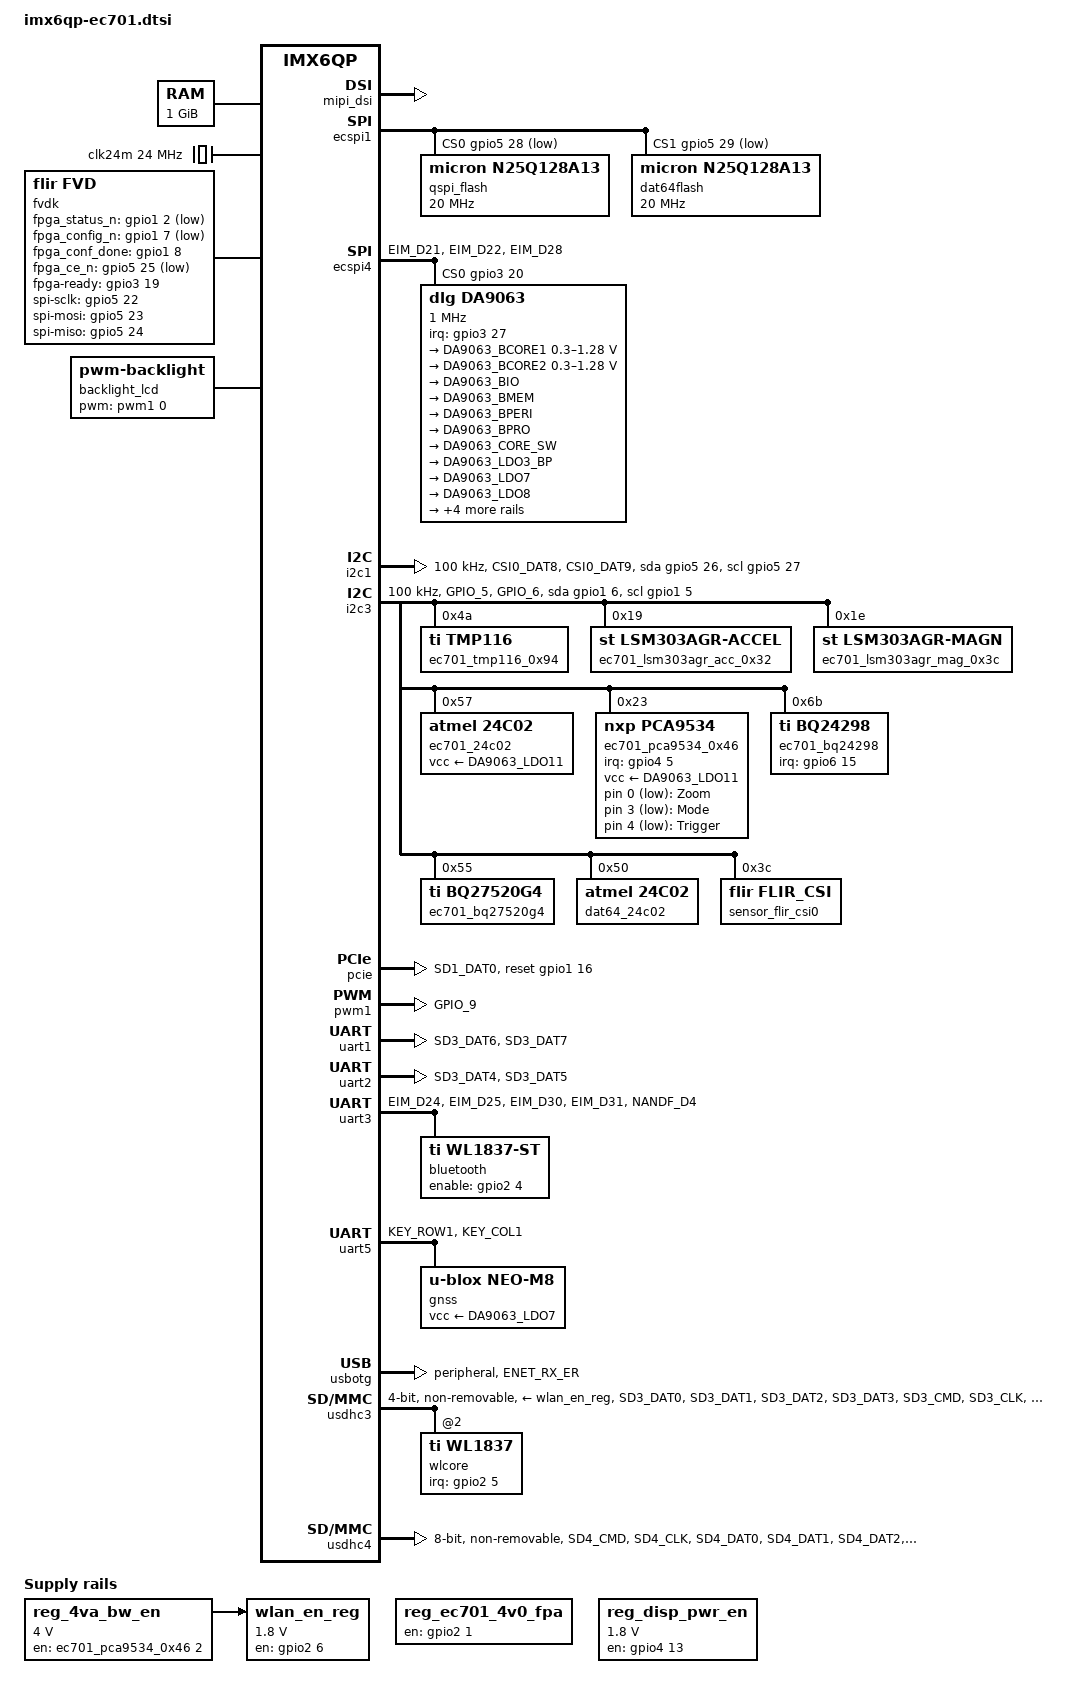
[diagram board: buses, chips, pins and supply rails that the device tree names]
/*
 * Copyright 2024 FLIR Systems.
 *
 * The code contained herein is licensed under the GNU General Public
 * License. You may obtain a copy of the GNU General Public License
 * Version 2 or later at the following locations:
 *
 * http://www.opensource.org/licenses/gpl-license.html
 * http://www.gnu.org/copyleft/gpl.html
 */

#include <dt-bindings/gpio/gpio.h>
#include <dt-bindings/input/input.h>
#include <dt-bindings/interrupt-controller/irq.h>
#include <dt-bindings/regulator/dlg,da9063-regulator.h>
#include "imx6q-pinfunc.h"

/ {
	aliases {
		mxcfb0 = &mxcfb1;
		mxcfb1 = &mxcfb2;

		mmc0 = &usdhc4;
		mmc1 = &usdhc1;
		mmc2 = &usdhc2;
		mmc3 = &usdhc3;
	};

	memory {
		reg = <0x10000000 0x40000000>;
	};

	clocks {
		clk24m: clk24m {
			compatible = "fixed-clock";
			#clock-cells = <0>;
			clock-frequency = <24000000>;
		};
	};

	// Board Info: Filled in by UBoot
	boards {
		mainboard {
			article = <0>;
			rev = <0>;
		};
	};

	luke-keyboard {
		compatible = "gpio-keys";

		autorepeat;
		/*KEY_F7*/
		keyboard_zoom {
			label = "Zoom";
			gpio-key;
			gpios = <&ec701_pca9534_0x46 0 GPIO_ACTIVE_LOW>;
			linux,code = <65>;
		};
		/*KEY_ENTER*/
		keyboard_mode {
			label = "Mode";
			gpio-key;
			gpios = <&ec701_pca9534_0x46 3 GPIO_ACTIVE_LOW>;
			linux,code = <28>;
		};
		/*F6*/
		button_trigger {
			label = "Trigger";
			gpio-key;
			gpios = <&ec701_pca9534_0x46 4 GPIO_ACTIVE_LOW>;
			linux,code = <64>;
		};
	};

	fad {
		compatible = "flir,fad";
		hasLaser = <0>;
		HasSoftwareControlledLaser = <0>;
		hasGPS = <1>;
		hasFocusModule = <0>;
	};

	fvdk {
		compatible = "flir,fvd", "flir,fvdk";
		fpa-supply = <&reg_ec701_4v0_fpa>;
		1v1_fpga-supply = <&DA9063_BPRO>;
		1v2_fpga-supply = <&DA9063_PERI_SW>;
		1v8_fpga-supply = <&DA9063_CORE_SW>;
		2v5_fpga-supply = <&DA9063_BMEM>;
		3v15_fpga-supply = <&DA9063_LDO8>;

		pinctrl-names = "default", "spi-default", "spi-idle";
		pinctrl-0 = <&pinctrl_fvd>;
		pinctrl-1 = <&pinctrl_ecspi1>;
		pinctrl-2 = <&pinctrl_ecspi1_idle>;

		/* _n low signals are interpreted by fvdk driver */
		fpga_status_n = <&gpio1 2 GPIO_ACTIVE_LOW>;
		fpga_config_n = <&gpio1 7 GPIO_ACTIVE_LOW>;
		fpga_conf_done = <&gpio1 8 GPIO_ACTIVE_HIGH>;
		fpga_ce_n = <&gpio5 25 GPIO_ACTIVE_LOW>;
		fpga-ready-gpio = <&gpio3 19 GPIO_ACTIVE_HIGH>;

		spi-sclk-gpio = <&gpio5 22 GPIO_ACTIVE_HIGH>;
		spi-mosi-gpio = <&gpio5 23 GPIO_ACTIVE_HIGH>;
		spi-miso-gpio = <&gpio5 24 GPIO_ACTIVE_HIGH>;
		spi-cs-gpio = <&gpio5 28 GPIO_ACTIVE_LOW>;

		// The fvdk driver needs to find the SPI device
		// via this phandle to prepare flash during FPGA programming
		spi_fpga_flash = <&qspi_flash>;
	};

	regulators {
		compatible = "simple-bus";

		reg_4va_bw_en: reg_4va_bw_en {
			compatible = "regulator-fixed";
			regulator-name = "4VA_BW";
			regulator-min-microvolt = <4000000>;
			regulator-max-microvolt = <4000000>;
			gpio = <&ec701_pca9534_0x46 2 GPIO_ACTIVE_HIGH>;
			regulator-boot-on;
			startup-delay-us = <10000>;
			enable-active-high;
		};

		wlan_en_reg: wlan_en_reg {
			compatible = "regulator-fixed";
			regulator-name = "wlan-en";
			regulator-min-microvolt = <1800000>;
			regulator-max-microvolt = <1800000>;
			gpio = <&gpio2 6 GPIO_ACTIVE_HIGH>;
			regulator-boot-on;
			startup-delay-us = <70000>;
			enable-active-high;
			vin-supply = <&reg_4va_bw_en>;
		};

		reg_ec701_4v0_fpa: 4v0_fpa {
			compatible = "regulator-fixed";
			regulator-name = "4V0_fpa";
			gpio = <&gpio2 1 0>; //FPA_PWR_EN
			enable-active-high;
		};

		/* DISP_PWR_EN */
		reg_disp_pwr_en: reg_disp_pwr_en {
			compatible = "regulator-fixed";
			regulator-name = "3V15_DISP";
			regulator-min-microvolt = <1800000>;
			regulator-max-microvolt = <1800000>;
			gpio = <&gpio4 13 GPIO_ACTIVE_HIGH>;
			regulator-boot-on;
			enable-active-high;
		};

	};

	mxcfb1: fb@0 {
		compatible = "fsl,mxc_sdc_fb";
		interface_pix_fmt = "RGB24";
		default_bpp = <32>;
		int_clk = <0>;
		late_init = <0>;
		disp_dev = "mipi_dsi";
		mode_str ="TRULY-VGA";
		backlight_lcd = <&backlight_lcd>;
		bootlogo = <0x0 0x0>;
		status = "okay";
	};

	mxcfb2: fb@1 {
		compatible = "fsl,mxc_sdc_fb";
		status = "disabled";
	};

	backlight_lcd: backlight_lcd {
		compatible = "pwm-backlight";
		pwms = <&pwm1 0 500000>; //500us=2KHz
		brightness-levels = <0 10 20 30 40 50 60 70 80 90 100>;
		default-brightness-level = <7>;
		options = <3>;	// Restore backlight after suspend
		status = "okay";
	};

	v4l2_cap_0 {
		compatible = "fsl,imx6q-v4l2-capture";
		ipu_id = <0>;
		csi_id = <0>;
		videoflow_method = <1>;
		mclk_source = <0>;
		status = "okay";
	};

	v4l2_out {
		compatible = "fsl,mxc_v4l2_output";
		status = "okay";
	};

	// UBoot Info: Filled in by UBoot
	u-boot {
		version = "Unknown";
		reset-cause = "Unknown";
	};

	lcd@0 {
		compatible = "fsl,lcd";
		// TODO: See LEIA for disabling DI pins in sleep mode
		ipu_id = <0>;
		disp_id = <0>;
		default_ifmt = "RGB24";
		pinctrl-names = "default";
		pinctrl-0 = <&pinctrl_disp_pwr_gpio>;
		display = <&lcdtiming>;
		status = "okay";
		bootlogo = <0x0 0x0>;
	};

	lcdtiming: lcdtiming {
		display-timings { 
			timing {
				clock-frequency = <25175000>;
				hactive = <640>;
				vactive = <480>;
				hfront-porch = <8>;
				hback-porch = <40>;
				hsync-len = <96>;
				vback-porch = <25>;
				vfront-porch = <2>;
				vsync-len = <2>;
				pixelclk-active = <0>;
			};
		};
	};
};

/* LCD */
&mipi_dsi {
	dev_id = <0>;
	disp_id = <1>;
	lcd_panel = "TRULY-VGA";
	disp-power-on-supply = <&reg_disp_pwr_en>;
	rotate-primary-180;
	status = "okay";
};

&fec {
	pinctrl-names = "default";
	pinctrl-0 = <&pinctrl_enet>;
	phy-mode = "rmii";
	status = "disabled";
};

&ecspi1 {
	// The fvdk driver sets this pinctrl when not
	// programming fpga, thus commented out here
	// pinctrl-names = "default";
	// pinctrl-0 = <&pinctrl_ecspi1>;
	fsl,spi-num-chipselects = <2>;
	cs-gpios = <&gpio5 28 GPIO_ACTIVE_LOW>, <&gpio5 29 GPIO_ACTIVE_LOW>;
	status = "okay";

	qspi_flash: mt25ql128aba@0 {
		compatible = "micron,n25q128a13", "jedec,spi-nor";
		spi-max-frequency = <20000000>;
		reg = <0>;
	};

	/* Detector flash */
	dat64flash: dat64flash@1 {
		compatible = "micron,n25q128a13", "micron,n25q256a", "jedec,spi-nor";
		spi-max-frequency = <20000000>;
		reg = <1>;
	};
};

&ecspi4 {
	pinctrl-names = "default";
	pinctrl-0 = <&pinctrl_ecspi4>;
	fsl,spi-num-chipselects = <1>;
	cs-gpios = <&gpio3 20 0>;
	status = "okay";

	da9063: da9063@0 {
		compatible = "dlg,da9063";
		reg = <0>;
		spi-max-frequency = <1000000>;
		interrupt-parent = <&gpio3>;
		interrupts = <27 2>;
		interrupt-controller;
		#interrupt-cells = <1>;
		pinctrl-names = "default";
		pinctrl-0 = <&pinctrl_da9063>;

		poweroff {
			compatible = "dlg,da9063-poweroff";
			/* Optional gpio-based shutdown used by EOCO*/
			pwroff-gpio = <&gpio2 30 GPIO_ACTIVE_HIGH>;
		};

		rtc {
			compatible = "dlg,da9063-rtc";
			interrupts = <1 2>;
			interrupts-names = "ALARM" , "TIMER";
			interrupt-parent = <&da9063>;
		};

		onkey {
			compatible = "dlg,da9063-onkey";
			interrupts = <0>;
			interrupts-names = "ONKEY";
			interrupt-parent = <&da9063>;
			dlg,key-power;
			gpio-key,wakeup;
			linux,code = <66>;
		};

		hwmon {
			compatible = "dlg,da9063-hwmon";
			interrupts = <3>;
			interrupts-names = "HWMON";
			interrupt-parent = <&da9063>;
			dlg,tjunc-offset = <(-5)>;
		};

		gpio_extender: gpio {
			compatible = "dlg,da9063-gpio";
			gpio-controller;
			#gpio-cells = <2>;
		};

		watchdog {
			compatible = "dlg,da9063-watchdog";
			timeout-sec = <30>;
		};

		charge_wake: charge_wake {
			compatible = "dlg,da9063-wake";
		};

		reset{
			compatible = "dlg,da9063-reset";
		};

		comp1v2 {
			compatible = "dlg,da9063-comp1v2"; /* Monitors battery voltage */
		};

		/*
		 * Regulator                Signal      Voltage     Enabled
		 * -------------------------------------------------------------
		 * DA9063_BCORE1:bcore1     VCCARM      1V38        Yes, seq 3
		 * DA9063_BCORE2:bcore2     VCCSOC      1V38        Yes, seq 3
		 * DA9063_BIO:bio           1V8D                    Yes, seq 5
		 * DA9063_BMEM:bmem         2V5D_FPGA               by uboot
		 * DA9063_BPERI:bperi       1V2D                    Yes, seq 4
		 * DA9063_BPRO:bpro         1V1D_FPGA               by uboot
		 * DA9063_CORE_SW:core_sw   1V8D_FPGA               by uboot
		 * DA9063_LDO2:ldo2         NC          1V2         No
		 * DA9063_LDO3_BP:ldo3      Test only   1V8         No
		 * DA9063_LDO4:ldo4         NC          3V15/1V8    Yes, seq 6, disabled in uboot
		 * DA9063_LDO6:ldo6         NC          2V5         No
		 * DA9063_LDO7:ldo7         3V15_GP                 No
		 * DA9063_LDO8:ldo8         3V15D_FPGA              by uboot
		 * DA9063_LDO9:ldo9         VCCSNVS     3V15        Yes, seq 1
		 * DA9063_LDO10:ldo10       NC          2V5D_FPGA   No
		 * DA9063_LDO11:ldo11       3V15D                   Yes, seq 6
		 * DA9063_PERI_SW:peri_sw   1V2D_FPGA               by uboot
		 */

		/* For DA9063 revision AD */
		regulators {
			compatible = "dlg,da9063-regulator";
			interrupts = <8>;
			interrupts-names = "LDO_LIM";
			interrupt-parent = <&da9063>;

			/* A note on the buck regulators:
			 * MODE_SYNC is able to deliver high current, while MODE_SLEEP enters a
			 * low current mode. MODE_AUTO automatically changes between the two.
			 * In suspend, MODE_SLEEP results in problems after suspend, it seems
			 * it continues to use MODE_SLEEP that cannot deliver enough current.
			 *
			 * Therefore, always use either MODE_SYNC or MODE_AUTO. MODE_AUTO
			 * might save some power, but we set MODE_SYNC here for all buck
			 * regulators for now.
			 */

			/* VCCARM */
			DA9063_BCORE1:bcore1  {
				regulator-name = "DA9063_BCORE1";
				regulator-boot-on;
				regulator-always-on;
				regulator-min-microvolt = <300000>;
				regulator-max-microvolt = <1280000>;

				regulator-initial-mode = <DA9063_BUCK_MODE_SYNC>;
				regulator-allowed-modes = <DA9063_BUCK_MODE_SYNC>;
			};

			/* VCCSOC */
			DA9063_BCORE2:bcore2  {
				regulator-name = "DA9063_BCORE2";
				regulator-boot-on;
				regulator-always-on;
				regulator-min-microvolt = <300000>;
				regulator-max-microvolt = <1280000>;

				regulator-initial-mode = <DA9063_BUCK_MODE_SYNC>;
				regulator-allowed-modes = <DA9063_BUCK_MODE_SYNC>;
			};

			/* 1V8D */
			DA9063_BIO:bio  {
				/* SLEEP mode (PFM) can be used for low currents up to 300mA.
				 * Expected load is about 30mA.
				 */
				regulator-initial-mode = <DA9063_BUCK_MODE_SLEEP>;
				regulator-name = "DA9063_BIO";
				regulator-boot-on;
				regulator-always-on;
				regulator-allowed-modes = <DA9063_BUCK_MODE_SLEEP>;
			};

			/* 2V5D_FPGA */
			DA9063_BMEM:bmem  {
				regulator-initial-mode = <DA9063_BUCK_MODE_SYNC>;
				regulator-name = "DA9063_BMEM";
				regulator-boot-on;
				regulator-allowed-modes = <DA9063_BUCK_MODE_SYNC>;
				/* Suspend handled by FVDK */
			};

			/* 1V2D */
			DA9063_BPERI:bperi  {
				/* SLEEP mode (PFM) can be used for low currents up to 300mA.
				 * Expected load is about 100mA.
				 */
				regulator-initial-mode = <DA9063_BUCK_MODE_SLEEP>;
				regulator-name = "DA9063_BPERI";
				regulator-boot-on;
				regulator-always-on;
				regulator-allowed-modes = <DA9063_BUCK_MODE_SLEEP>;
			};

			/* 1V1D_FPGA */
			DA9063_BPRO:bpro  {
				regulator-initial-mode = <DA9063_BUCK_MODE_SYNC>;
				regulator-name = "DA9063_BPRO";
				regulator-boot-on;
				regulator-allowed-modes = <DA9063_BUCK_MODE_SYNC>;
				/* Suspend handled by FVDK */
			};

			/* 1V8D_FPGA */
			DA9063_CORE_SW:core-sw  {
				regulator-name = "DA9063_CORE_SW";
				regulator-boot-on;
				/* Suspend handled by FVDK */
			};

			/* LDO3: 1V8 test point */
			DA9063_LDO3_BP:ldo3  {
				regulator-name = "DA9063_LDO3_BP";
				regulator-state-mem {
					regulator-off-in-suspend;
				};
			};

			/* 3V15_GP */
			DA9063_LDO7:ldo7  {
				regulator-name = "DA9063_LDO7";
			};

			/* 3V15D_FPGA */
			DA9063_LDO8:ldo8  {
				regulator-name = "DA9063_LDO8";
				regulator-boot-on;
			};

			/* VCCSNVS */
			DA9063_LDO9:ldo9  {
				regulator-name = "DA9063_LDO9";
				regulator-boot-on;
				regulator-always-on;
			};

			/* 3V15D */
			DA9063_LDO11:ldo11  {
				regulator-name = "DA9063_LDO11";
				regulator-boot-on;
				regulator-always-on;
			};

			/* 1V2D_FPGA */
			DA9063_PERI_SW:peri-sw  {
				regulator-name = "DA9063_PERI_SW";
				regulator-boot-on;
				/* Suspend handled by FVDK */
			};

			DA9063_32K_OUT:out_32k  {
				regulator-name = "DA9063_32K_OUT";
			};
		};
	};
};

&wdog1 {
	/* Disable internal watchdog in favor of da9063-wdt */
	status = "disable";
};

&i2c1 {
	clock-frequency = <100000>;
	pinctrl-names = "default", "gpio";
	pinctrl-0 = <&pinctrl_i2c1>;
	pinctrl-1 = <&pinctrl_i2c1_gpio>;
	scl-gpios = <&gpio5 27 (GPIO_ACTIVE_HIGH | GPIO_OPEN_DRAIN)>;
	sda-gpios = <&gpio5 26 GPIO_ACTIVE_HIGH>;
	status = "okay";
};

&i2c3 {
	clock-frequency = <100000>;
	pinctrl-names = "default", "gpio";
	pinctrl-0 = <&pinctrl_i2c3>;
	pinctrl-1 = <&pinctrl_i2c3_gpio>;
	scl-gpios = <&gpio1 5 (GPIO_ACTIVE_HIGH | GPIO_OPEN_DRAIN)>;
	sda-gpios = <&gpio1 6 GPIO_ACTIVE_HIGH>;
	status = "okay";

	/* Temperature sensor */
	ec701_tmp116_0x94: ec701_tmp116_0x94@4a {
		compatible = "ti,tmp116";
		reg = <0x4a>;
		//vdd-supply = <&DA9063_LDO11>;
		status = "okay";
	};

	/* Accelerometer: DRDY and INTS are not connected */
	ec701_lsm303agr_acc_0x32: ec701_lsm303agr_acc_0x32@19 {
		compatible = "st,lsm303agr-accel";
		reg = <0x19>;
		//vdd-supply = <&DA9063_LDO11>;
		status = "okay";
	};

	/* Magnetometer: DRDY and INTS are not connected */
	ec701_lsm303agr_mag_0x3c: ec701_lsm303agr_mag_0x3c@1e {
		compatible = "st,lsm303agr-magn";
		reg = <0x1e>;
		//vdd-supply = <&DA9063_LDO11>;
		status = "okay";
	};

	/* ID EEPROM */
	ec701_24c02: ec701_24c02_0xae@57 {
		compatible = "atmel,24c02";
		reg = <0x57>;
		pagesize = <16>;
		vcc-supply = <&DA9063_LDO11>;
	};

	/* Power ctrl I/O expander */
	ec701_pca9534_0x46: ec701_pca9534_0x46@23 {
		compatible = "nxp,pca9534";
		reg = <0x23>;
		gpio-controller;
		vcc-supply = <&DA9063_LDO11>;
		/* Int: I2C3_ALERT_n, GPIO4.5 */
		interrupt-parent = <&gpio4>;
		interrupts = <5 IRQ_TYPE_EDGE_FALLING>;
		interrupt-controller;
		interrupts-shared;
		#interrupt-cells = <2>;
		#gpio-cells = <2>;
		status = "okay";
	};

	/* Battery charger */
	ec701_bq24298: ec701_bq24298_0xd6@6b {
		compatible = "ti,bq24298";
		reg = <0x6b>;
		interrupt-parent = <&gpio6>;
		interrupts = <15 2>;
                //ti,usb-charger-detection = <&usbotg>;
		status = "okay";
	};

	/* Battery fuel gauge */
	ec701_bq27520g4: ec701_bq27520g4_0xaa@55 {
		compatible = "ti,bq27520g4";
		reg = <0x55>;
	};

	/* ID EEPROM on detector board */
	dat64_24c02: dat64_24c02_0xa0@50 {
		compatible = "atmel,24c02";
		reg = <0x50>;
		pagesize = <16>;
		status = "okay";
	};

	/* FPGA CSI0 */
	sensor_flir_csi0: csi0@3c {
		compatible = "flir,flir_csi";
		reg = <0x3c>;
		pinctrl-names = "default";
		pinctrl-0 = <&pinctrl_ipu1_csi0>;
		clocks = <&clks 201>;
		clock-names = "csi_mclk";
		ipu_id = <0>;
		csi_id = <0>;
		mclk = <24000000>;
		mclk_source = <0>;
		capturemode = <0>;
		format = "RGB4";
		status = "okay";
	};
};

&iomuxc {
	pinctrl_da9063: da9063grp {
		fsl,pins = <
			MX6QDL_PAD_EIM_D27__GPIO3_IO27 0x1b0b0
		>;
	};

	pinctrl_ecspi1: ecspi1grp {
		fsl,pins = <
			MX6QDL_PAD_CSI0_DAT4__ECSPI1_SCLK 0x100b1
			MX6QDL_PAD_CSI0_DAT5__ECSPI1_MOSI 0x100b1
			MX6QDL_PAD_CSI0_DAT6__ECSPI1_MISO 0x100b1
			MX6QDL_PAD_CSI0_DAT7__GPIO5_IO25 0x1b0b1
		>;
	};

	pinctrl_ecspi1_idle: ecspi1grp-idle {
		fsl,pins = <
			MX6QDL_PAD_CSI0_DAT4__GPIO5_IO22	0x100b1
			MX6QDL_PAD_CSI0_DAT5__GPIO5_IO23	0x100b1
			MX6QDL_PAD_CSI0_DAT6__GPIO5_IO24	0x100b1
			MX6QDL_PAD_CSI0_DAT7__GPIO5_IO25	0x1a0b1  //Disable PKE in suspend
		>;
	};

	pinctrl_ecspi4: ecspi4grp {
		fsl,pins = <
			MX6QDL_PAD_EIM_D21__ECSPI4_SCLK 0x100b1
			MX6QDL_PAD_EIM_D22__ECSPI4_MISO 0x100b1
			MX6QDL_PAD_EIM_D28__ECSPI4_MOSI 0x100b1
		>;
	};

	pinctrl_fvd: fvdgrp {
		fsl,pins = <
			MX6QDL_PAD_EIM_D16__GPIO3_IO16	0x10010
			MX6QDL_PAD_EIM_D17__GPIO3_IO17	0x10010
			MX6QDL_PAD_EIM_D18__GPIO3_IO18	0x10010
			MX6QDL_PAD_EIM_D19__GPIO3_IO19	0x10010
			MX6QDL_PAD_CSI0_DAT7__GPIO5_IO25 0x1b0b1
		>;
	};

	pinctrl_i2c1: i2c1grp {
		fsl,pins = <
			MX6QDL_PAD_CSI0_DAT8__I2C1_SDA  0x4001b8b1
			MX6QDL_PAD_CSI0_DAT9__I2C1_SCL  0x4001b8b1
		>;
	};

	pinctrl_i2c1_gpio: i2c1gpiogrp {
		fsl,pins = <
			MX6QDL_PAD_CSI0_DAT8__GPIO5_IO26 0x4001b8b1
			MX6QDL_PAD_CSI0_DAT9__GPIO5_IO27 0x4001b8b1
		>;
	};

	pinctrl_disp_pwr_gpio: disppwrgrp {
		fsl,pins = <
			/* DISP_PWR_EN, EC701 rev E */
			MX6QDL_PAD_KEY_ROW3__GPIO4_IO13		0x1b0b0
		>;
	};

	pinctrl_i2c3: i2c3grp {
		fsl,pins = <
			MX6QDL_PAD_GPIO_5__I2C3_SCL  0x4001b8b1
			MX6QDL_PAD_GPIO_6__I2C3_SDA  0x4001b8b1
		>;
	};

	pinctrl_i2c3_gpio: i2c3gpiogrp {
		fsl,pins = <
			MX6QDL_PAD_GPIO_5__GPIO1_IO05 0x4001b8b1
			MX6QDL_PAD_GPIO_6__GPIO1_IO06 0x4001b8b1
			MX6QDL_PAD_GPIO_19__GPIO4_IO05	0x00009030 // TODO
		>;
	};

	pinctrl_ipu1_csi0: ipu1csi0grp {
		fsl,pins = <
			MX6QDL_PAD_CSI0_DAT12__IPU1_CSI0_DATA12		0x80000000
			MX6QDL_PAD_CSI0_DAT13__IPU1_CSI0_DATA13		0x80000000
			MX6QDL_PAD_CSI0_DAT14__IPU1_CSI0_DATA14		0x80000000
			MX6QDL_PAD_CSI0_DAT15__IPU1_CSI0_DATA15		0x80000000
			MX6QDL_PAD_CSI0_DAT16__IPU1_CSI0_DATA16		0x80000000
			MX6QDL_PAD_CSI0_DAT17__IPU1_CSI0_DATA17		0x80000000
			MX6QDL_PAD_CSI0_DAT18__IPU1_CSI0_DATA18		0x80000000
			MX6QDL_PAD_CSI0_DAT19__IPU1_CSI0_DATA19		0x80000000
			MX6QDL_PAD_CSI0_PIXCLK__IPU1_CSI0_PIXCLK	0x0000a0b0
			MX6QDL_PAD_CSI0_MCLK__IPU1_CSI0_HSYNC		0x80000000
			MX6QDL_PAD_CSI0_VSYNC__IPU1_CSI0_VSYNC		0x80000000
			MX6QDL_PAD_CSI0_DATA_EN__IPU1_CSI0_DATA_EN	0x80000000
			>;
	};

	// TODO: to be removed, we don't use this interface, we use mipi.
	pinctrl_ipu1_di0_enabled: ipu1di0_enabled_grp {
		fsl,pins = <
			MX6QDL_PAD_DI0_DISP_CLK__IPU1_DI0_DISP_CLK	0xA8
			MX6QDL_PAD_DI0_PIN2__IPU1_DI0_PIN02		0xA8
			MX6QDL_PAD_DI0_PIN3__IPU1_DI0_PIN03		0xA8
			//MX6QDL_PAD_DI0_PIN4__IPU1_DI0_PIN04		0x80000000
			//MX6QDL_PAD_DI0_PIN15__IPU1_DI0_PIN15		0xA8
			MX6QDL_PAD_DISP0_DAT0__IPU1_DISP0_DATA00	0xA8
			MX6QDL_PAD_DISP0_DAT1__IPU1_DISP0_DATA01	0xA8
			MX6QDL_PAD_DISP0_DAT2__IPU1_DISP0_DATA02	0xA8
			MX6QDL_PAD_DISP0_DAT3__IPU1_DISP0_DATA03	0xA8
			MX6QDL_PAD_DISP0_DAT4__IPU1_DISP0_DATA04	0xA8
			MX6QDL_PAD_DISP0_DAT5__IPU1_DISP0_DATA05	0xA8
			MX6QDL_PAD_DISP0_DAT6__IPU1_DISP0_DATA06	0xA8
			MX6QDL_PAD_DISP0_DAT7__IPU1_DISP0_DATA07	0xA8
			MX6QDL_PAD_DISP0_DAT8__IPU1_DISP0_DATA08	0xA8
			MX6QDL_PAD_DISP0_DAT9__IPU1_DISP0_DATA09	0xA8
			MX6QDL_PAD_DISP0_DAT10__IPU1_DISP0_DATA10	0xA8
			MX6QDL_PAD_DISP0_DAT11__IPU1_DISP0_DATA11	0xA8
			MX6QDL_PAD_DISP0_DAT12__IPU1_DISP0_DATA12	0xA8
			MX6QDL_PAD_DISP0_DAT13__IPU1_DISP0_DATA13	0xA8
			MX6QDL_PAD_DISP0_DAT14__IPU1_DISP0_DATA14	0xA8
			MX6QDL_PAD_DISP0_DAT15__IPU1_DISP0_DATA15	0xA8
			MX6QDL_PAD_DISP0_DAT16__IPU1_DISP0_DATA16	0xA8
			MX6QDL_PAD_DISP0_DAT17__IPU1_DISP0_DATA17	0xA8
			MX6QDL_PAD_DISP0_DAT18__IPU1_DISP0_DATA18	0xA8
			MX6QDL_PAD_DISP0_DAT19__IPU1_DISP0_DATA19	0xA8
			MX6QDL_PAD_DISP0_DAT20__IPU1_DISP0_DATA20	0xA8
			MX6QDL_PAD_DISP0_DAT21__IPU1_DISP0_DATA21	0xA8
			MX6QDL_PAD_DISP0_DAT22__IPU1_DISP0_DATA22	0xA8
			MX6QDL_PAD_DISP0_DAT23__IPU1_DISP0_DATA23	0xA8
		>;
	};
	// TODO: to be removed, we don't use this interface, we use mipi.
	pinctrl_ipu1_di0_disabled: ipu1di0_disabled_grp {
		fsl,pins = <
		/*
		 * Reserved [15 bit]
		 * HYS [1 bit] = 0, Disabled, CMOS input
		 * PUS [2 bit] = 00, 100K PD
		 * PUE [1 bit] = 0, Keeper Enabled
		 * PKE [1 bit] 0, Disabled, Pull/Keeper disabled
		 * ODE [1 bit] = 0, Disabled, Output is CMOS
		 * Reserved [3 bit]
		 * Speed [2 bit] = 00 = Slow
		 * DSE [3 bit] = 000 = Hi Z
		 * Reserved [2 bit]
		 * SRE [1 bit] = 0 Slow Slew Rate
		 */
			MX6QDL_PAD_DI0_DISP_CLK__GPIO4_IO16	0x0
			MX6QDL_PAD_DI0_PIN2__GPIO4_IO18		0x0
			MX6QDL_PAD_DI0_PIN3__GPIO4_IO19		0x0
			MX6QDL_PAD_DISP0_DAT0__GPIO4_IO21	0x0
			MX6QDL_PAD_DISP0_DAT1__GPIO4_IO22	0x0
			MX6QDL_PAD_DISP0_DAT2__GPIO4_IO23	0x0
			MX6QDL_PAD_DISP0_DAT3__GPIO4_IO24	0x0
			MX6QDL_PAD_DISP0_DAT4__GPIO4_IO25	0x0
			MX6QDL_PAD_DISP0_DAT5__GPIO4_IO26	0x0
			MX6QDL_PAD_DISP0_DAT6__GPIO4_IO27	0x0
			MX6QDL_PAD_DISP0_DAT7__GPIO4_IO28	0x0
			MX6QDL_PAD_DISP0_DAT8__GPIO4_IO29	0x0
			MX6QDL_PAD_DISP0_DAT9__GPIO4_IO30	0x0
			MX6QDL_PAD_DISP0_DAT10__GPIO4_IO31	0x0
			MX6QDL_PAD_DISP0_DAT11__GPIO5_IO05	0x0
			MX6QDL_PAD_DISP0_DAT12__GPIO5_IO06	0x0
			MX6QDL_PAD_DISP0_DAT13__GPIO5_IO07	0x0
			MX6QDL_PAD_DISP0_DAT14__GPIO5_IO08	0x0
			MX6QDL_PAD_DISP0_DAT15__GPIO5_IO09	0x0
			MX6QDL_PAD_DISP0_DAT16__GPIO5_IO10	0x0
			MX6QDL_PAD_DISP0_DAT17__GPIO5_IO11	0x0
			MX6QDL_PAD_DISP0_DAT18__GPIO5_IO12	0x0
			MX6QDL_PAD_DISP0_DAT19__GPIO5_IO13	0x0
			MX6QDL_PAD_DISP0_DAT20__GPIO5_IO14	0x0
			MX6QDL_PAD_DISP0_DAT21__GPIO5_IO15	0x0
			MX6QDL_PAD_DISP0_DAT22__GPIO5_IO16	0x0
			MX6QDL_PAD_DISP0_DAT23__GPIO5_IO17	0x0
		>;
	};

	pinctrl_pwm1: pwm1grp {
		fsl,pins = <
			MX6QDL_PAD_GPIO_9__PWM1_OUT		0x80000000
		>;
	};

	pinctrl_enet: enetgrp {
		fsl,pins = <
			MX6QDL_PAD_ENET_MDIO__ENET_MDIO		0x1b0b0
			MX6QDL_PAD_ENET_TX_EN__ENET_TX_EN	0x1b0b0
			MX6QDL_PAD_ENET_TXD0__ENET_TX_DATA0	0x1b0b0
			MX6QDL_PAD_ENET_TXD1__ENET_TX_DATA1	0x1b0b0
			MX6QDL_PAD_ENET_MDC__ENET_MDC		0x1b0b0
			MX6QDL_PAD_RGMII_TX_CTL__ENET_REF_CLK	0x1b0b0
			MX6QDL_PAD_ENET_CRS_DV__ENET_RX_EN	0x1b0b0
			MX6QDL_PAD_ENET_RXD0__ENET_RX_DATA0	0x1b0b0
			MX6QDL_PAD_ENET_RXD1__ENET_RX_DATA1	0x1b0b0
		>;
	};

	pinctrl_uart1: uart1grp {
		fsl,pins = <
			MX6QDL_PAD_SD3_DAT6__UART1_RX_DATA	0x1b0b1
			MX6QDL_PAD_SD3_DAT7__UART1_TX_DATA	0x1b0b1
		>;
	};

	pinctrl_uart2: uart2grp {
		fsl,pins = <
			MX6QDL_PAD_SD3_DAT4__UART2_RX_DATA	0x1b0b1
			MX6QDL_PAD_SD3_DAT5__UART2_TX_DATA	0x1b0b1
		>;
	};

	pinctrl_pcie: pciegrp {
		fsl,pins = <
			MX6QDL_PAD_SD1_DAT0__GPIO1_IO16	0x1b0b1
		>;
	};

	pinctrl_uart3: uart3grp {
		fsl,pins = <
			MX6QDL_PAD_EIM_D24__UART3_TX_DATA	0x1b0b1
			MX6QDL_PAD_EIM_D25__UART3_RX_DATA	0x1b0b1
			MX6QDL_PAD_EIM_D30__UART3_CTS_B		0x1b0b1
			MX6QDL_PAD_EIM_D31__UART3_RTS_B		0x1b0b1
			/* BT_EN pin */
			MX6QDL_PAD_NANDF_D4__GPIO2_IO04		0x10
		>;
	};

	pinctrl_uart3_sleep: uart3grpsleep {
		fsl,pins = <
			// 100 kOhm pull down GPIO input
			MX6QDL_PAD_EIM_D24__GPIO3_IO24		0x3010
			MX6QDL_PAD_EIM_D25__GPIO3_IO25		0x3010
			MX6QDL_PAD_EIM_D30__GPIO3_IO30		0x3010
			MX6QDL_PAD_EIM_D31__GPIO3_IO31		0x3010
		>;
	};

	pinctrl_uart5: uart5grp {
		fsl,pins = <
			MX6QDL_PAD_KEY_ROW1__UART5_RX_DATA	0x1b0b1
			MX6QDL_PAD_KEY_COL1__UART5_TX_DATA	0x1b0b1
		>;
	};

	pinctrl_uart5_sleep: uart5grpsleep {
		fsl,pins = <
			// 100 kOhm pull down GPIO input
			MX6QDL_PAD_KEY_ROW1__GPIO4_IO09		0x3010
			MX6QDL_PAD_KEY_COL1__GPIO4_IO08		0x3010
		>;
	};

	pinctrl_usbotg: usbotggrp {
		fsl,pins = <
			MX6QDL_PAD_ENET_RX_ER__USB_OTG_ID	0x17059
		>;
	};

	pinctrl_usdhc3: usdhc3grp {
		fsl,pins = <
			/* Use 22 kohm pull up on SD signals */
			MX6QDL_PAD_SD3_DAT0__SD3_DATA0		0x1f020
			MX6QDL_PAD_SD3_DAT1__SD3_DATA1		0x1f020
			MX6QDL_PAD_SD3_DAT2__SD3_DATA2		0x1f020
			MX6QDL_PAD_SD3_DAT3__SD3_DATA3		0x1f020
			MX6QDL_PAD_SD3_CMD__SD3_CMD		    0x1f020
			MX6QDL_PAD_SD3_CLK__SD3_CLK		    0x10020
			/* WLAN_EN pin */
			MX6QDL_PAD_NANDF_D6__GPIO2_IO06		0x10
			/* WLAN_IRQ pin */
			MX6QDL_PAD_NANDF_D5__GPIO2_IO05	 0x1f010
		>;
	};

	pinctrl_usdhc3_sleep: usdhc3grpsleep {
		fsl,pins = <
			// 100 kOhm pull down GPIO input
			MX6QDL_PAD_SD3_CMD__GPIO7_IO02		0x3010
			MX6QDL_PAD_SD3_CLK__GPIO7_IO03		0x3010
			MX6QDL_PAD_SD3_DAT0__GPIO7_IO04		0x3010
			MX6QDL_PAD_SD3_DAT1__GPIO7_IO05		0x3010
			MX6QDL_PAD_SD3_DAT2__GPIO7_IO06		0x3010
			MX6QDL_PAD_SD3_DAT3__GPIO7_IO07		0x3010
			/* WLAN_IRQ pin */
			MX6QDL_PAD_NANDF_D5__GPIO2_IO05		0x3010
		>;
	};

	pinctrl_usdhc4: usdhc4grp {
		fsl,pins = <
			MX6QDL_PAD_SD4_CMD__SD4_CMD	0x170B9
			MX6QDL_PAD_SD4_CLK__SD4_CLK	0x100B9
			MX6QDL_PAD_SD4_DAT0__SD4_DATA0	0x170B9
			MX6QDL_PAD_SD4_DAT1__SD4_DATA1	0x170B9
			MX6QDL_PAD_SD4_DAT2__SD4_DATA2	0x170B9
			MX6QDL_PAD_SD4_DAT3__SD4_DATA3	0x170B9
			MX6QDL_PAD_SD4_DAT4__SD4_DATA4	0x170B9
			MX6QDL_PAD_SD4_DAT5__SD4_DATA5	0x170B9
			MX6QDL_PAD_SD4_DAT6__SD4_DATA6	0x170B9
			MX6QDL_PAD_SD4_DAT7__SD4_DATA7	0x170B9
		>;
	};

	pinctrl_weim_fpga: weimfpgagrp {
		fsl,pins = <
			MX6QDL_PAD_EIM_CS0__EIM_CS0_B		0xb0b1
			MX6QDL_PAD_EIM_CS1__EIM_CS1_B		0xb0b1
			MX6QDL_PAD_EIM_LBA__EIM_LBA_B		0xb0b1
			MX6QDL_PAD_EIM_OE__EIM_OE_B			0xb0b1
			MX6QDL_PAD_EIM_RW__EIM_RW			0xb0b1
			MX6QDL_PAD_EIM_BCLK__EIM_BCLK		0xb0b1

			MX6QDL_PAD_EIM_DA15__EIM_AD15		0xb0b1
			MX6QDL_PAD_EIM_DA14__EIM_AD14		0xb0b1
			MX6QDL_PAD_EIM_DA13__EIM_AD13		0xb0b1
			MX6QDL_PAD_EIM_DA12__EIM_AD12		0xb0b1
			MX6QDL_PAD_EIM_DA11__EIM_AD11		0xb0b1
			MX6QDL_PAD_EIM_DA10__EIM_AD10		0xb0b1
			MX6QDL_PAD_EIM_DA9__EIM_AD09		0xb0b1
			MX6QDL_PAD_EIM_DA8__EIM_AD08		0xb0b1
			MX6QDL_PAD_EIM_DA7__EIM_AD07		0xb0b1
			MX6QDL_PAD_EIM_DA6__EIM_AD06		0xb0b1
			MX6QDL_PAD_EIM_DA5__EIM_AD05		0xb0b1
			MX6QDL_PAD_EIM_DA4__EIM_AD04		0xb0b1
			MX6QDL_PAD_EIM_DA3__EIM_AD03		0xb0b1
			MX6QDL_PAD_EIM_DA2__EIM_AD02		0xb0b1
			MX6QDL_PAD_EIM_DA1__EIM_AD01		0xb0b1
			MX6QDL_PAD_EIM_DA0__EIM_AD00		0xb0b1
		>;
	};
};

&pcie {
	pinctrl-names = "default";
	pinctrl-0 = <&pinctrl_pcie>;
	reset-gpio = <&gpio1 16 0>;
	status = "okay";
};

&ipu1 {
	bypass_reset = <1>;
	// IOMUX_GPR6: ID0 = F (real time), ID1 = 4 (high prio), ID2 = 2 (normal prio)
	axi-id = <&gpr 0x18 0x024F024F>;
};

&ipu2 {
	bypass_reset = <1>;
	// IOMUX_GPR7: ID0 = 4 (high prio)
	axi-id = <&gpr 0x1C 0x00040004>;
};

&gpc {
	fsl,ldo-bypass = <1>;
};

&cpu0{
	arm-supply = <&DA9063_BCORE1>;
	soc-supply = <&DA9063_BCORE2>;

	/* Operating points differ a little compared to imx6q.dtsi.
	 * Our SoC is fused to 792MHz, so the higher freqs will not be used.
	 * But those frequencies are added here anyway.
	 * We are also using LDO bypass, and there is ~25mV drop on a 0ohm
	 * resistor after the PMIC, and we must be above 1.15V.
	 * Thus a little higher voltage on 768. 768 and 420 has also been
	 * chosen historically for less interference with GPS/WiFi.
	 */
	operating-points = <
		/* kHz	 uV */
		1200000 1275000
		996000 1250000
		852000 1250000
		768000 1180000
		420000 1150000
	>;
	fsl,soc-operating-points = <
		/* ARM kHz SOC-PU uV */
		1200000 1275000
		996000 1250000
		852000 1250000
		768000 1200000
		420000 1200000
	>;
};

&cpu1{
	arm-supply = <&DA9063_BCORE1>;
	soc-supply = <&DA9063_BCORE2>;
	operating-points = <
		/* kHz	 uV */
		1200000 1275000
		996000 1250000
		852000 1250000
		768000 1180000
		420000 1150000
	>;
	fsl,soc-operating-points = <
		/* ARM kHz SOC-PU uV */
		1200000 1275000
		996000 1250000
		852000 1250000
		768000 1200000
		420000 1200000
	>;
};

&reg_arm {
	vin-supply = <&DA9063_BCORE1>;
};

&reg_soc {
	vin-supply = <&DA9063_BCORE2>;
};

// OCRAM usage improvements
&vpu {
	iramsize = <0x10000>;
};

&sdma {
	iram = <&ocram>;
};

&vdoa {
	status = "disabled";
};

&pwm1 {
	#pwm-cells = <2>;
	pinctrl-names = "default";
	pinctrl-0 = <&pinctrl_pwm1>;
	status = "okay";
};

&uart1 {
	pinctrl-names = "default";
	pinctrl-0 = <&pinctrl_uart1>;
	status = "okay";
};

&uart2 {
	pinctrl-names = "default";
	pinctrl-0 = <&pinctrl_uart2>;
	status = "okay";
};

/* Bluetooth */
&uart3 {
	/* ti,wl1837-st BT driver does not support closing the uart
	 * in suspend, therefore we only use the "default" pinctrl,
	 * and also avoid an error message during suspend operations.
	 */
	pinctrl-names = "default";
	pinctrl-0 = <&pinctrl_uart3>;
	pinctrl-1 = <&pinctrl_uart3_sleep>;
	uart-has-rtscts;
	status = "okay";
	dma-names = "rx","";

	bluetooth {
		compatible = "ti,wl1837-st";
		max-speed = <3000000>;
		enable-gpios = <&gpio2 4 GPIO_ACTIVE_HIGH>;
	};
};

&uart5 {
	pinctrl-names = "default", "sleep";
	pinctrl-0 = <&pinctrl_uart5>;
	pinctrl-1 = <&pinctrl_uart5_sleep>;
	status = "okay";

	/* GPS */
	gnss {
		compatible = "u-blox,neo-m8";
		vcc-supply = <&DA9063_LDO7>;
		current-speed = <9600>;
	};
};


/* USB */
&usbotg {
	pinctrl-names = "default";
	pinctrl-0 = <&pinctrl_usbotg>;
	disable-over-current;
//	imx6-usb-charger-detection;
//	dr_mode = "host";
	dr_mode = "peripheral";
//	dr_mode = "otg";
	status = "okay";
};

/* WiFi */
&usdhc3 {
	pinctrl-names = "default", "sleep";
	pinctrl-0 = <&pinctrl_usdhc3>;
	pinctrl-1 = <&pinctrl_usdhc3_sleep>;
	vmmc-supply = <&wlan_en_reg>;
	bus-width = <4>;
	non-removable;
	no-1-8-v;
	keep-power-in-suspend;
	cap-power-off-card;
	max-frequency = <25000000>;
	status = "okay";
	#address-cells = <1>;
	#size-cells = <0>;

	wlcore: wlcore@2 {
		compatible = "ti,wl1837";
		reg = <2>;
		interrupt-parent = <&gpio2>;
		interrupts = <5 IRQ_TYPE_LEVEL_HIGH>;
		platform-quirks = <1>;
		tcxo-clock-frequency = <26000000>;
		ref-clock-frequency = <26000000>;
	};
};

/* eMMC */
&usdhc4 {
	pinctrl-names = "default";
	pinctrl-0 = <&pinctrl_usdhc4>;
	bus-width = <8>;
	non-removable;
	voltage-ranges = <1800 1800 3300 3300>; // 1.7V-1.95V and 2.7V-3.6V according to THGBMUG7C1LBAIL datasheet
	status = "okay";
};

&weim {
	pinctrl-names = "default";
	pinctrl-0 = <&pinctrl_weim_fpga>;
	/* CS 0 Physical_address Size */
	ranges = <0 0 0x08000000 0x02000000
		  1 0 0x0A000000 0x02000000
		  2 0 0x0C000000 0x02000000
		  3 0 0x0E000000 0x02000000>;
	/* Burst Clock Mode (BCM) */
	/* Ironically, BCM means "run bclk whenever axiclk is running", */
	/* which is basically a continuous clock. */
	fsl,burst-clk-enable;
	/* BCLK is EIM clock (99MHz), divided by 2 */
	fsl,burst-clk-div = <2>;
	status = "disabled";

	imx-weim@1,0 {
		compatible = "fsl,imx6q-weim";
		reg = <1 0 0x02000000>;
		#address-cells = <1>;
		#size-cells = <1>;
		#bank-width = <2>;
		/* Set CS1 to synced muxed mode */
		/* Note: CS Burst Clock settings are overridden by BCM */
		fsl,weim-cs-timing = <0x1221a0bf 0x00000000
				      0x06031100 0x00000000
				      0x450c0000 0x00000000>;

	};
};
